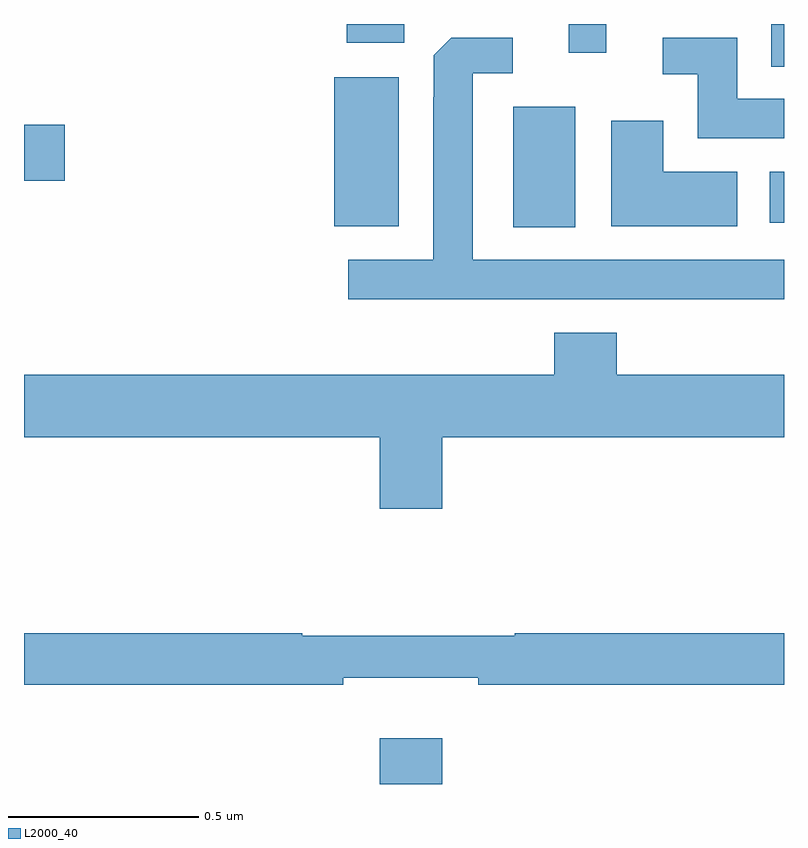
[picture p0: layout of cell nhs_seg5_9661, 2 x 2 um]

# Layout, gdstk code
import gdstk
lib = gdstk.Library(unit=1e-6, precision=1e-09)
def R(c, l, rs):  # rectangles x0, y0, x1, y1
    for r in rs: c.add(gdstk.rectangle(r[:2], r[2:], *l))
def P(c, l, *ps):  # polygons
    for p in ps: c.add(gdstk.Polygon(p, *l))
L2000_40 = (2000, 40)

nhs_seg5_9661 = lib.new_cell('nhs_seg5_9661')
R(nhs_seg5_9661, L2000_40, [(236.936,903.799,237.1,903.919), (237.287,905.264,237.451,905.581), (236.816,905.267,236.986,905.659), (237.962,905.276,238,905.41), (236,905.387,236.107,905.534), (237.966,905.687,238,905.799), (237.434,905.724,237.532,905.799), (236.849,905.75,237,905.799)])
P(nhs_seg5_9661, L2000_40, [(238,905.179),(237.181,905.179),(237.181,905.67),(237.286,905.67),(237.286,905.763),(237.124,905.763),(237.078,905.717),(237.078,905.606),(237.077,905.606),(237.077,905.179),(236.853,905.179),(236.853,905.075),(238,905.075)],
  [(238,905.602),(237.877,905.602),(237.877,905.763),(237.681,905.763),(237.681,905.667),(237.773,905.667),(237.773,905.498),(238,905.498)],
  [(237.877,905.41),(237.682,905.41),(237.682,905.545),(237.545,905.545),(237.545,905.267),(237.877,905.267)],
  [(237.395,904.987),(237.395,904.876),(236,904.876),(236,904.712),(236.936,904.712),(236.936,904.524),(237.1,904.524),(237.1,904.712),(238,904.712),(238,904.876),(237.56,904.876),(237.56,904.987)],
  [(236.84,904.079),(237.196,904.079),(237.196,904.06),(238,904.06),(238,904.196),(237.291,904.196),(237.291,904.189),(236.732,904.189),(236.732,904.196),(236,904.196),(236,904.06),(236.84,904.06)])

lib.write_gds('nhs_seg5_9661.gds')
